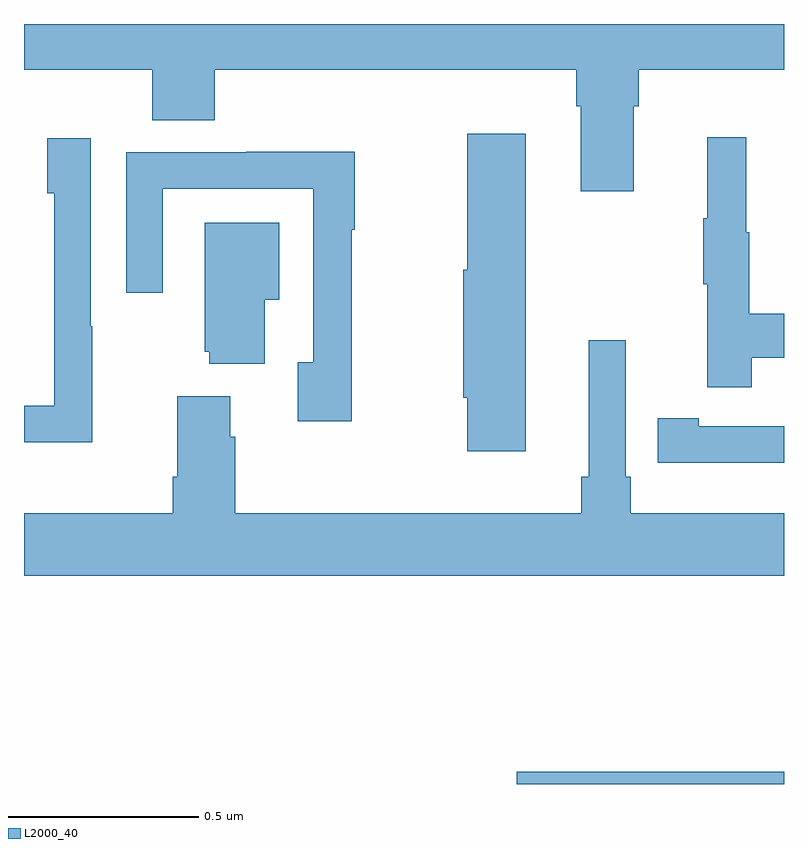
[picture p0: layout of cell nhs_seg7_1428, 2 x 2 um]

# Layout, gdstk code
import gdstk
lib = gdstk.Library(unit=1e-6, precision=1e-09)
def R(c, l, rs):  # rectangles x0, y0, x1, y1
    for r in rs: c.add(gdstk.rectangle(r[:2], r[2:], *l))
def P(c, l, *ps):  # polygons
    for p in ps: c.add(gdstk.Polygon(p, *l))
L2000_40 = (2000, 40)

nhs_seg7_1428 = lib.new_cell('nhs_seg7_1428')
R(nhs_seg7_1428, L2000_40, [(131.297,1068,132,1068.032)])
P(nhs_seg7_1428, L2000_40, [(131.605,1069.784),(131.618,1069.784),(131.618,1069.88),(132,1069.88),(132,1070),(130,1070),(130,1069.88),(130.337,1069.88),(130.337,1069.747),(130.502,1069.747),(130.502,1069.88),(131.453,1069.88),(131.453,1069.784),(131.465,1069.784),(131.465,1069.56),(131.605,1069.56)],
  [(131.32,1069.711),(131.167,1069.711),(131.167,1069.353),(131.156,1069.353),(131.156,1069.017),(131.167,1069.017),(131.167,1068.876),(131.32,1068.876)],
  [(131.915,1069.122),(132,1069.122),(132,1069.238),(131.908,1069.238),(131.908,1069.452),(131.9,1069.452),(131.9,1069.702),(131.798,1069.702),(131.798,1069.489),(131.787,1069.489),(131.787,1069.315),(131.798,1069.315),(131.798,1069.044),(131.915,1069.044)],
  [(130.179,1069.205),(130.176,1069.205),(130.176,1069.699),(130.061,1069.699),(130.061,1069.554),(130.08,1069.554),(130.08,1068.996),(130,1068.996),(130,1068.899),(130.179,1068.899)],
  [(130.862,1069.459),(130.87,1069.459),(130.87,1069.664),(130.585,1069.664),(130.585,1069.662),(130.269,1069.662),(130.269,1069.293),(130.365,1069.293),(130.365,1069.566),(130.761,1069.566),(130.761,1069.11),(130.721,1069.11),(130.721,1068.954),(130.862,1068.954)],
  [(130.633,1069.274),(130.672,1069.274),(130.672,1069.477),(130.475,1069.477),(130.475,1069.137),(130.487,1069.137),(130.487,1069.106),(130.633,1069.106)],
  [(132,1068.712),(131.597,1068.712),(131.597,1068.808),(131.583,1068.808),(131.583,1069.168),(131.486,1069.168),(131.486,1068.808),(131.467,1068.808),(131.467,1068.712),(130.556,1068.712),(130.556,1068.914),(130.543,1068.914),(130.543,1069.021),(130.403,1069.021),(130.403,1068.808),(130.391,1068.808),(130.391,1068.712),(130,1068.712),(130,1068.548),(132,1068.548)],
  [(132,1068.942),(131.776,1068.942),(131.776,1068.962),(131.668,1068.962),(131.668,1068.846),(131.776,1068.846),(131.776,1068.845),(132,1068.845)])

lib.write_gds('nhs_seg7_1428.gds')
